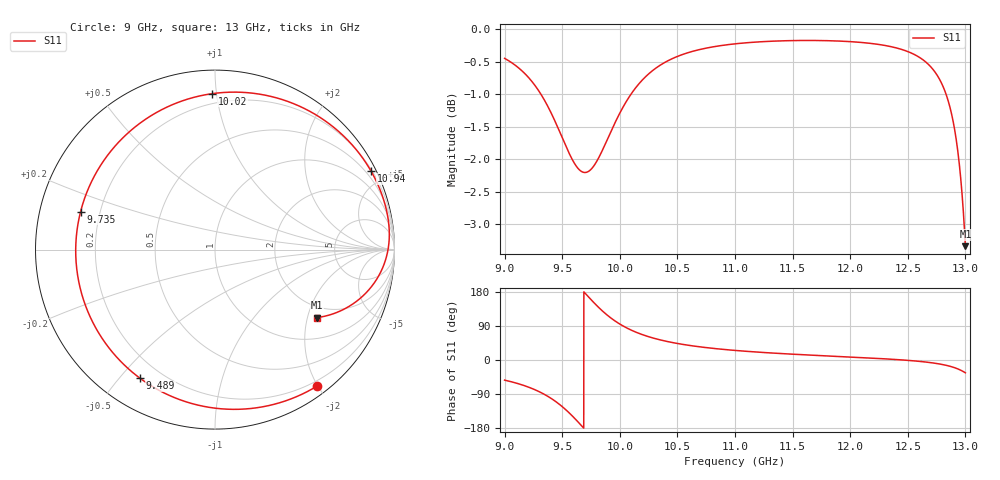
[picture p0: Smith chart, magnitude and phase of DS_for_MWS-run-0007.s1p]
! TOUCHSTONE file generated by CST DESIGN STUDIO
! Date and time: Tue Feb  4 18:25:18 2025
! Project name: C:\Work\MatlabApps\UnitCellOptimizationMatlab\CST\unitcell.cst
! Tree item: Tasks\Sweep1\SPara1\S-Parameters
! Header version: 2024
! Port assignment regex: !\s*Touchstone port\s*([0-9]+)\s*=\s*(CST MWS port|CST DES external port|CST DES block port)\s*(.+)\s* \(\"(.*)\"\)(\s*mode\s*([0-9]+))?.*
! Touchstone port assignment:
! Touchstone port 1 = CST DES external port 1 ("")
# GHz S MA R 50
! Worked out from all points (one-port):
!   4001 points, 9 GHz to 13 GHz, reference 50 ohm
!   lowest |S11| = -3.3 dB at 13 GHz (marker M1), VSWR 5.27, Z = 80.6 - j114 ohm
!   |S11| at or under -10 dB: nowhere
!   S11 on the Smith chart (normalised r, x): 9 GHz: 0.13, -1.99; 9.489 GHz: 0.12, -0.57; 9.735 GHz: 0.13, +0.14; 10.02 GHz: 0.14, +0.97; 10.94 GHz: 0.25, +4.19; 13 GHz: 1.61, -2.28
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9  0.9496 -53.1
9.162  0.9269 -66.7
9.311  0.8925 -85.2
9.407  0.8611 -102.0
9.489  0.8297 -120.2
9.5  0.8253 -123.0
9.562  0.8022 -140.0
9.629  0.7832 -160.7
9.682  0.7763 -178.2
9.735  0.7782 164.2
9.804  0.7926 142.4
9.866  0.8131 124.8
9.93  0.8369 109.2
10  0.8619 94.9
10.021  0.8689 91.1
10.126  0.8986 75.2
10.236  0.9215 62.8
10.359  0.9392 52.5
10.5  0.9529 43.6
10.944  0.9731 26.7
11  0.9744 25.3
11.5  0.98 15.3
12  0.9782 7.8
12.5  0.9611 -0.9
12.699  0.9356 -7.0
12.83  0.8923 -13.8
12.92  0.823 -21.8
13  0.6811 -33.9
